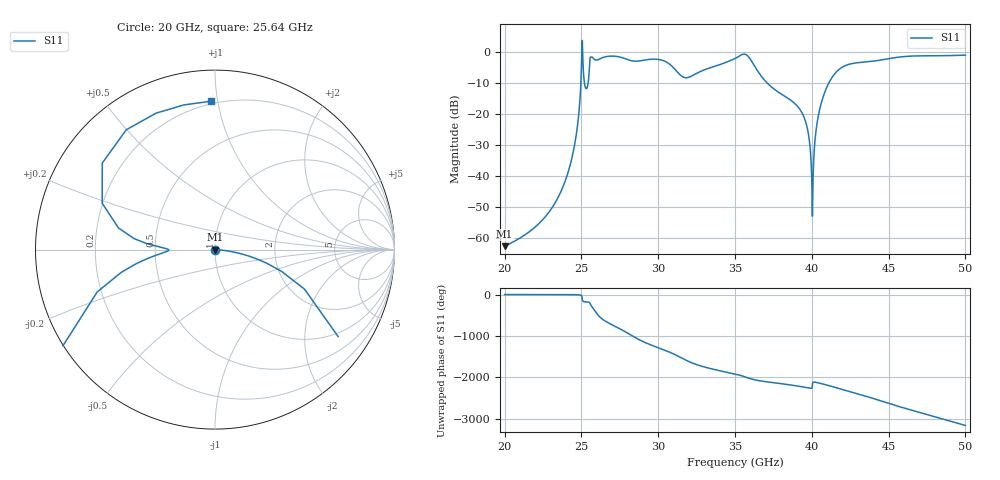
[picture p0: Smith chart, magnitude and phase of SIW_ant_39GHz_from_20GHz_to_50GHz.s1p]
! Touchstone file from project single_SIW_slot_antenna_39GHz
! Exported from HFSS 2017.0.0
! Variables:
!  $D1 = 2.13371266002845mm
!  $Disk_shift = 0.15647226173542mm
!  $G1 = 0.245193885882145mm
!  $G2 = 0.612984714705363mm
!  $S0 = 15mil
!  $S1 = 10mil
!  $S2 = 4.9038777176429mm
!  $SL = 1.47116330014225mm
!  $SW = 0.588465326117148mm
!  $VL = 1.83895414411609mm
!  $VW = 0.622792470140648mm
!  $W = 3.42712690890829mm
!  $W1 = 3.42712690890829mm
!  $W2 = 3.42712690890829mm
!  $W3 = 3.80050523117325mm
!  $length = 24.5193885882145mm
!  $offset = 1.48648648648649mm
!  $patch_step = 3.37141591572887mm
!  $slot_side = 0.668563300142248mm
!  $slot_step = 1.90025261558662mm
!  $substrate_edge = 1.71635720117502mm
!  $width = 7.11237553342817mm
!  brick_dist = 0.177809388335704mm
!Data is not renormalized
# GHZ S MA
! Modal data exported
! Port[1] = 1:1
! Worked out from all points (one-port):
!   1501 points, 20 GHz to 50 GHz, reference per port
!   lowest |S11| = -62.6 dB at 20 GHz (marker M1), VSWR 1.00
!   |S11| at or under -10 dB: start of sweep to 24.96 GHz; 25.2 GHz to 25.44 GHz (238.9 MHz wide, 0.944 % of centre); 37.1 GHz to 41.11 GHz (4.004 GHz wide, 10.2 % of centre)
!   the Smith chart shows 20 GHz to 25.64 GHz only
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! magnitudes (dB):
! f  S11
! 20 GHz  -62.6
! 22.3 GHz  -55.0
! 23.76 GHz  -43.9
! 24.58 GHz  -29.3
! 24.8 GHz  -21.4
! 24.98 GHz  -8.2
! 25.08 GHz  0.0
! 25.32 GHz  -11.8
! 25.68 GHz  -1.6
! 27.5 GHz  -1.6
! 30.2 GHz  -2.6
! 31.26 GHz  -6.5
! 31.94 GHz  -8.2
! 35 GHz  -2.1
! 35.78 GHz  -1.0
! 37.1 GHz  -10.0
! 38.76 GHz  -16.0
! 39.6 GHz  -22.5
! 39.78 GHz  -26.4
! 40.04 GHz  -52.9
! 40.14 GHz  -33.1
! 40.24 GHz  -26.9
! 40.38 GHz  -21.8
! 40.82 GHz  -13.3
! 41.54 GHz  -6.7
! 42.5 GHz  -3.8
! 46.26 GHz  -1.4
! 50 GHz  -1.0
